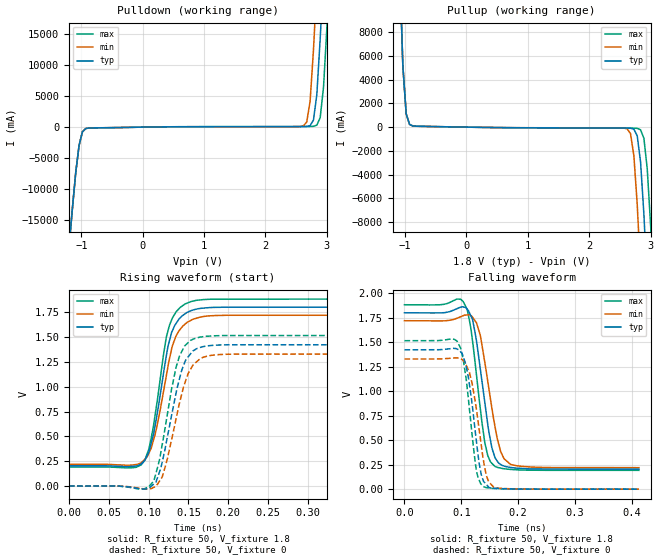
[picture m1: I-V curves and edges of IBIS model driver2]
| IBIS file invchain_stage4_tr5ps.ibs created by PYS2IBIS3
| Missouri S&T EMC Lab
[IBIS Ver] 7.1
[File Name] invchain_stage4_tr5ps.ibs
[File Rev] 1.0
[Date] Jul 27, 2026
[Source] inv_chain variant 'stage4' -- four stages, same final drive
[Notes] Parameter selection; sim_time=4.129e-10, tr=tf=5.000e-12.
[Component] invchain
[Manufacturer] s2ibispy study
[Package]
| variable   typ   min   max
R_pkg 0 NA NA
L_pkg 0H NA NA
C_pkg 0F NA NA
[Pin]  signal_name   model_name   R_pin   L_pin   C_pin
VSSQ   VSSQ   Gnd
VCCQ   VCCQ   Power
| IN IN dummy
PAD   PAD   driver2
| End of Component
| Models and submodels in the file (1): driver2 (Output)
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[Model] driver2
Model_type Output
Polarity Non-Inverting
Enable Active-High
Vinl  = 0.8V
Vinh  = 2V
C_comp 0.4680pF NA NA
[Temperature Range] 27.0000 27.0000 27.0000
[Voltage Range] 1.8000V 1.7000V 1.9000V
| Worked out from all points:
|   slope of the pulldown table from 0 to 0.27 V, typ, clamps not added: 6.79 ohm
|   slope of the pullup table from 0 to 0.27 V, typ, clamps not added: 12.6 ohm
|   rising waveform, R_fixture 50, V_fixture 1.8: 20-80 % time 20.5ps typ, 22.1ps min, 19.3ps max; typ from 0.204 V to 1.8 V
|   rising waveform, R_fixture 50, V_fixture 0: 20-80 % time 22.4ps typ, 23.3ps min, 20.5ps max; typ from 0 V to 1.42 V
|   falling waveform, R_fixture 50, V_fixture 1.8: 20-80 % time 22.9ps typ, 25.2ps min, 21ps max; typ from 1.8 V to 0.204 V
|   falling waveform, R_fixture 50, V_fixture 0: 20-80 % time 18.3ps typ, 20.1ps min, 17.6ps max; typ from 1.42 V to 0 V
[Pulldown]
| Voltage   I(typ)   I(min)   I(max)
-1.8V     -87.88A    -87.88A    -87.88A
-1.2V     -19.4A     -19.4A     -19.4A
-1.036V   -2.952A    -2.948A    -2.955A
-927.3mV  -221.8mA   -216.4mA   -227mA
2.618V    95.77mA    193.1mA    97.15mA
2.727V    244.8mA    4.224A     106.4mA
2.782V    1.151A     12.49A     132.5mA
2.836V    5.27A      23.04A     313.7mA
2.891V    14.25A     33.59A     1.533A
2.946V    24.81A     44.15A     6.464A
3V        35.36A     54.71A     16.02A
3.6V      151.5A     170.8A     132.1A
[Pullup]
| Voltage   I(typ)   I(min)   I(max)
-1.8V     151.4A     151.4A     151.4A
-1.091V   14.2A      14.19A     14.2A
-981.8mV  1.13A      1.129A     1.132A
-872.7mV  99.18mA    97.54mA    100.6mA
2.618V    -78.19mA   -142.5mA   -79.21mA
2.727V    -177.2mA   -2.408A    -86.52mA
2.782V    -728.3mA   -6.523A    -104.6mA
2.836V    -2.952A    -12.18A    -222.3mA
2.891V    -7.391A    -18.4A     -950.7mA
2.946V    -13.22A    -24.62A    -3.561A
3V        -19.44A    -30.85A    -8.297A
3.6V      -87.92A    -99.33A    -76.52A
[Ramp]
| variable   typ   min   max
dV/dt_r 0.8532/0.02239n 0.7968/0.02335n 0.9090/0.02053n
dV/dt_f 0.9575/0.02296n 0.8972/0.02484n 1.0171/0.02134n
R_load = 50
[Rising Waveform]
R_fixture = 50
V_fixture = 1.8
|time   V(typ)   V(min)   V(max)
0s        204.2mV    219.5mV    192.2mV
78.1ps    196.1mV    210.5mV    182.7mV
95.1ps    258.4mV    267.3mV    257.4mV
106.2ps   521.8mV    465.2mV    610.1mV
122.3ps   1.315V     1.117V     1.501V
128.5ps   1.535V     1.369V     1.665V
133.9ps   1.629V     1.501V     1.745V
145.9ps   1.734V     1.631V     1.833V
181ps     1.798V     1.716V     1.881V
412.9ps   1.8V       1.719V     1.882V
[Rising Waveform]
R_fixture = 50
V_fixture = 0
|time   V(typ)   V(min)   V(max)
0s        13.08nV    12.76nV    13.48nV
101.3ps   -16.01mV   -28.45mV   1.332mV
107.5ps   25.4mV     -10.06mV   75.69mV
117.4ps   251.9mV    98.97mV    425mV
128.9ps   713mV      464.7mV    979.4mV
138ps     1.055V     807.4mV    1.289V
146.3ps   1.262V     1.056V     1.418V
157ps     1.366V     1.228V     1.482V
194.7ps   1.421V     1.326V     1.515V
412.9ps   1.422V     1.328V     1.515V
[Falling Waveform]
R_fixture = 50
V_fixture = 1.8
|time   V(typ)   V(min)   V(max)
0s        1.8V       1.719V     1.882V
103.3ps   1.86V      1.77V      1.915V
116.5ps   1.774V     1.772V     1.662V
126.1ps   1.543V     1.703V     1.202V
133.5ps   1.23V      1.57V      821.7mV
146.3ps   675.6mV    1.113V     349.3mV
159.5ps   320.6mV    634.3mV    231.6mV
169.4ps   251.5mV    383.3mV    214mV
187.2ps   220.9mV    251.9mV    201mV
412.9ps   204.2mV    219.5mV    192.2mV
[Falling Waveform]
R_fixture = 50
V_fixture = 0
|time   V(typ)   V(min)   V(max)
0s        1.422V     1.328V     1.515V
92.6ps    1.43V      1.34V      1.511V
103.3ps   1.354V     1.314V     1.33V
114.1ps   1.08V      1.197V     843.2mV
126.5ps   499.8mV    825.5mV    196.6mV
131ps     280.4mV    630.3mV    99.75mV
139.3ps   79.46mV    277.4mV    25.71mV
148.4ps   20.38mV    75.69mV    11.22mV
161.2ps   7.701mV    13.52mV    5.979mV
412.9ps   19.22nV    -117.9nV   72.08nV
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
